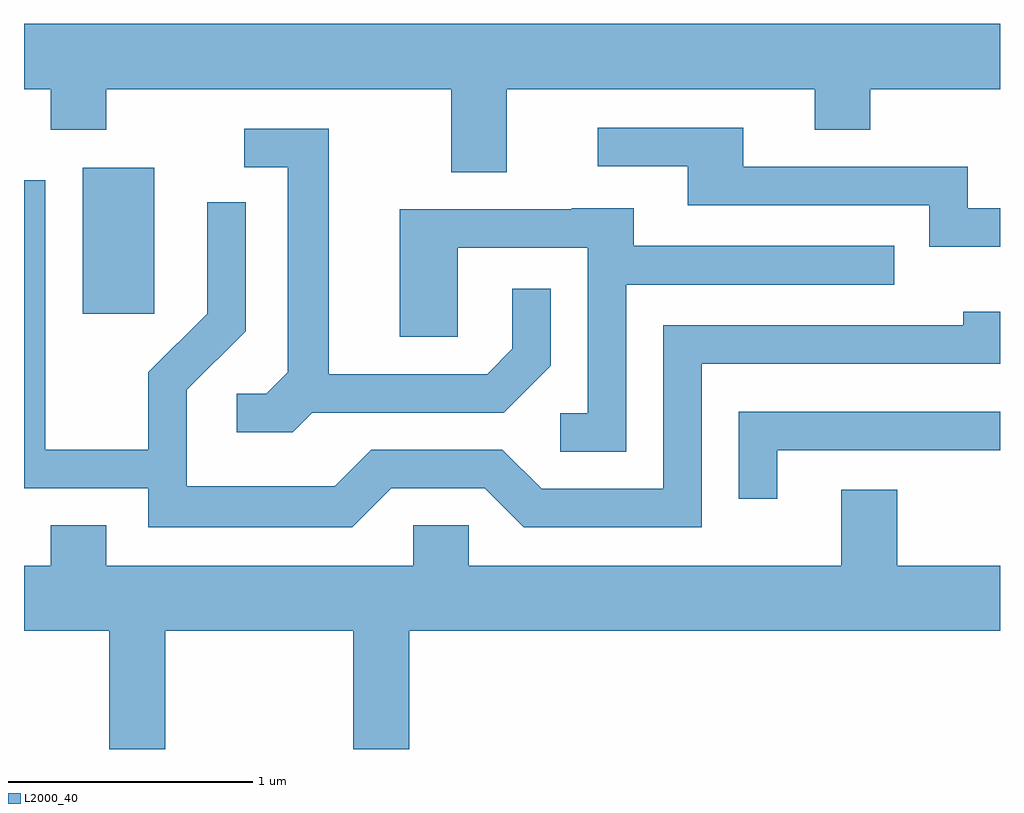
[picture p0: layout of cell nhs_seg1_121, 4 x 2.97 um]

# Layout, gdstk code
import gdstk
lib = gdstk.Library(unit=1e-6, precision=1e-09)
def R(c, l, rs):  # rectangles x0, y0, x1, y1
    for r in rs: c.add(gdstk.rectangle(r[:2], r[2:], *l))
def P(c, l, *ps):  # polygons
    for p in ps: c.add(gdstk.Polygon(p, *l))
L2000_40 = (2000, 40)

nhs_seg1_121 = lib.new_cell('nhs_seg1_121')
R(nhs_seg1_121, L2000_40, [(187.851,947.496,188.144,948.094)])
P(nhs_seg1_121, L2000_40, [(189.589,948.416),(190.851,948.416),(190.851,948.251),(191.079,948.251),(191.079,948.416),(191.611,948.416),(191.611,948.684),(187.611,948.684),(187.611,948.416),(187.721,948.416),(187.721,948.251),(187.949,948.251),(187.949,948.416),(189.361,948.416),(189.361,948.076),(189.589,948.076)],
  [(191.611,947.929),(191.479,947.929),(191.479,948.099),(190.559,948.099),(190.559,948.259),(189.963,948.259),(189.963,948.101),(190.331,948.101),(190.331,947.941),(191.321,947.941),(191.321,947.771),(191.611,947.771)],
  [(188.792,947.091),(189.577,947.091),(189.769,947.284),(189.769,947.598),(189.611,947.598),(189.611,947.352),(189.509,947.249),(188.859,947.249),(188.859,948.254),(188.513,948.254),(188.513,948.096),(188.691,948.096),(188.691,947.257),(188.604,947.169),(188.483,947.169),(188.483,947.011),(188.712,947.011)],
  [(189.117,946.781),(189.499,946.781),(189.659,946.621),(190.389,946.621),(190.389,947.291),(191.611,947.291),(191.611,947.504),(191.461,947.504),(191.461,947.449),(190.231,947.449),(190.231,946.779),(189.732,946.779),(189.572,946.939),(189.034,946.939),(188.884,946.789),(188.279,946.789),(188.279,947.184),(188.519,947.424),(188.519,947.953),(188.361,947.953),(188.361,947.497),(188.121,947.257),(188.121,946.939),(187.699,946.939),(187.699,948.044),(187.611,948.044),(187.611,946.781),(188.121,946.781),(188.121,946.621),(188.957,946.621)],
  [(190.079,947.616),(191.178,947.616),(191.178,947.774),(190.109,947.774),(190.109,947.929),(189.855,947.929),(189.855,947.924),(189.151,947.924),(189.151,947.401),(189.389,947.401),(189.389,947.766),(189.921,947.766),(189.921,947.089),(189.808,947.089),(189.808,946.931),(190.079,946.931)],
  [(190.699,946.936),(191.611,946.936),(191.611,947.094),(190.541,947.094),(190.541,946.738),(190.699,946.738)],
  [(188.189,946.196),(188.961,946.196),(188.961,945.712),(189.189,945.712),(189.189,946.196),(191.611,946.196),(191.611,946.464),(191.189,946.464),(191.189,946.774),(190.961,946.774),(190.961,946.464),(189.434,946.464),(189.434,946.629),(189.206,946.629),(189.206,946.464),(187.949,946.464),(187.949,946.629),(187.721,946.629),(187.721,946.464),(187.611,946.464),(187.611,946.196),(187.961,946.196),(187.961,945.712),(188.189,945.712)])

lib.write_gds('nhs_seg1_121.gds')
